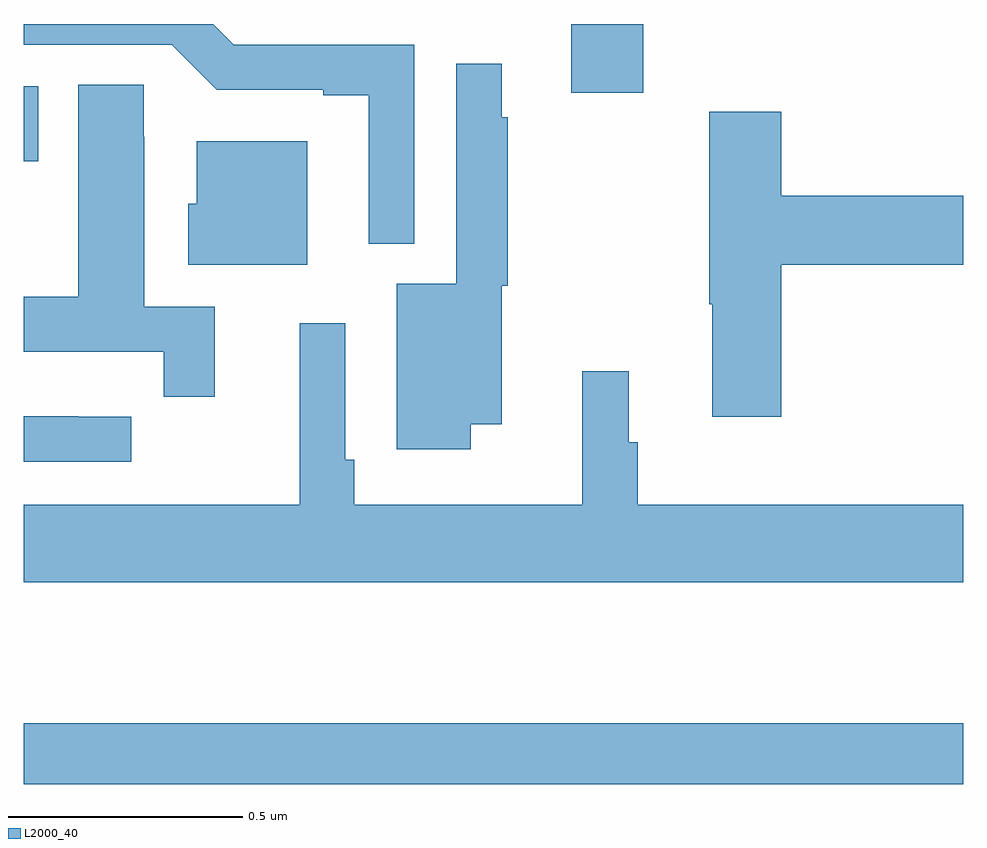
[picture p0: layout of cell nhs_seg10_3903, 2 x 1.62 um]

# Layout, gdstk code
import gdstk
lib = gdstk.Library(unit=1e-6, precision=1e-09)
def R(c, l, rs):  # rectangles x0, y0, x1, y1
    for r in rs: c.add(gdstk.rectangle(r[:2], r[2:], *l))
def P(c, l, *ps):  # polygons
    for p in ps: c.add(gdstk.Polygon(p, *l))
L2000_40 = (2000, 40)

nhs_seg10_3903 = lib.new_cell('nhs_seg10_3903')
R(nhs_seg10_3903, L2000_40, [(159,1303.882,161,1304.011), (159,1305.208,159.031,1305.367), (160.166,1305.354,160.319,1305.5)])
P(nhs_seg10_3903, L2000_40, [(159.831,1305.456),(159.447,1305.456),(159.403,1305.5),(159,1305.5),(159,1305.456),(159.315,1305.456),(159.411,1305.36),(159.638,1305.36),(159.638,1305.348),(159.734,1305.348),(159.734,1305.032),(159.831,1305.032)],
  [(159.952,1304.648),(160.018,1304.648),(160.018,1304.943),(160.03,1304.943),(160.03,1305.302),(160.018,1305.302),(160.018,1305.415),(159.921,1305.415),(159.921,1304.947),(159.794,1304.947),(159.794,1304.595),(159.952,1304.595)],
  [(159.407,1304.898),(159.256,1304.898),(159.256,1305.26),(159.255,1305.26),(159.255,1305.371),(159.116,1305.371),(159.116,1304.919),(159,1304.919),(159,1304.802),(159.298,1304.802),(159.298,1304.706),(159.407,1304.706)],
  [(160.613,1304.987),(161,1304.987),(161,1305.134),(160.613,1305.134),(160.613,1305.313),(160.459,1305.313),(160.459,1304.903),(160.466,1304.903),(160.466,1304.664),(160.613,1304.664)],
  [(159.604,1305.25),(159.368,1305.25),(159.368,1305.117),(159.35,1305.117),(159.35,1304.987),(159.604,1304.987)],
  [(159.229,1304.664),(159.116,1304.664),(159.116,1304.665),(159,1304.665),(159,1304.568),(159.229,1304.568)],
  [(160.288,1304.61),(160.288,1304.761),(160.189,1304.761),(160.189,1304.476),(159.704,1304.476),(159.704,1304.572),(159.684,1304.572),(159.684,1304.863),(159.587,1304.863),(159.587,1304.476),(159,1304.476),(159,1304.312),(161,1304.312),(161,1304.476),(160.307,1304.476),(160.307,1304.61)])

lib.write_gds('nhs_seg10_3903.gds')
